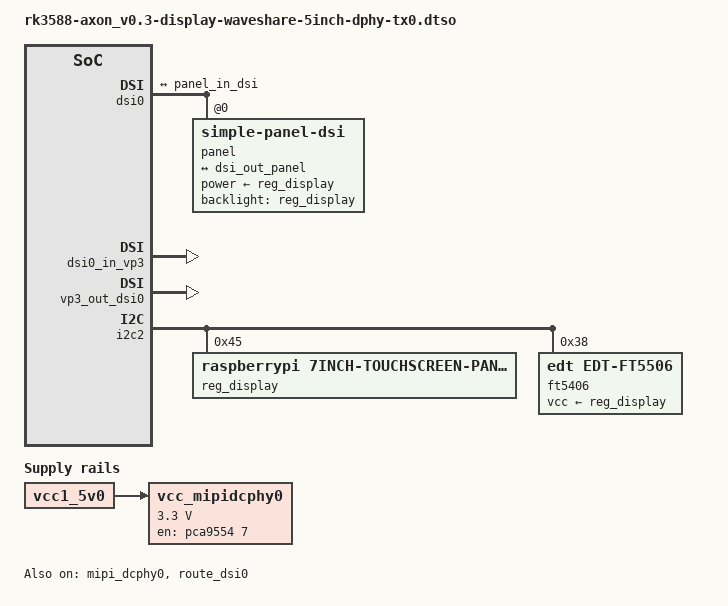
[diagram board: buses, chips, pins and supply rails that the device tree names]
//SPDX-License-Identifier: GPL-2..0+
// Copyright (C) 2024 Vicharak Computers PVT LTD

/dts-v1/;
/plugin/;

#include <dt-bindings/gpio/gpio.h>
#include <dt-bindings/pinctrl/rockchip.h>
#include <dt-bindings/display/drm_mipi_dsi.h>

&{/} {
	metadata {
		title = "Enable Waveshare 5inch DSI LCD DPHY TX0 Axon V0.3";
		compatible = "vicharak,rk3588-axon", "rockchip,rk3588";
		category = "display";
		exclusive = "dsi0", "vp3", "dsi0_in_vp3", "vp3_out_dsi0";
		description = "Enables support for the Waveshare 5-inch LCD screen for DSI0 on\n Vicharak Axon at I2C 2 bus address 45 for regulator and 38 for touchscreen.\n";
	};

	vcc_mipidcphy0: vcc-mipi-dcphy0 {
		compatible = "regulator-fixed";
		regulator-name = "vcc_mipidcphy0";
		regulator-min-microvolt = <3300000>;
		regulator-max-microvolt = <3300000>;
		gpio = <&pca9554 7 GPIO_ACTIVE_HIGH>;
		regulator-always-on;
		regulator-boot-on;
		enable-active-high;
		vin-supply = <&vcc1_5v0>;
		status = "okay";
	};
};

&mipi_dcphy0 {
	status = "okay";
};

&dsi0 {
	status = "okay";
	#address-cells = <1>;
	#size-cells = <0>;

	panel: panel-dsi-generic@0 {
		compatible = "simple-panel-dsi";
		reg = <0>;
		power-supply = <&reg_display>;
		backlight = <&reg_display>;
		status = "okay";

		width-mm = <0>;
		height-mm = <0>;

		dsi,format = <MIPI_DSI_FMT_RGB888>;
		dsi,lanes = <1>;
		dsi,flags = <(MIPI_DSI_MODE_VIDEO | MIPI_DSI_MODE_VIDEO_SYNC_PULSE |
			  MIPI_DSI_MODE_LPM | MIPI_DSI_MODE_VIDEO_HSE)>;

		display-timings {
			native-mode = <&timing0>;
			timing0: timing0 {
				clock-frequency = <27777000>;
				hactive = <800>;
				vactive = <480>;

				hback-porch = <45>;
				hfront-porch = <59>;

				vback-porch = <22>;
				vfront-porch = <7>;

				hsync-len = <2>;
				vsync-len = <2>;
			};
		};

		ports {
            #address-cells = <1>;
            #size-cells = <0>;

            port@0 {
                reg = <0>;
                panel_in_dsi: endpoint {
                    remote-endpoint = <&dsi_out_panel>;
                };
            };
        };
	};

	ports {
		#address-cells = <1>;
		#size-cells = <0>;

		port@1 {
			reg = <1>;

			dsi_out_panel: endpoint {
				remote-endpoint = <&panel_in_dsi>;
			};
		};
	};
};

&dsi0_in_vp2 {
	status = "disabled";
};

&dsi0_in_vp3 {
	status = "okay";
};

&vp3_out_dsi0 {
	status = "okay";
};

&route_dsi0 {
	status = "okay";
	connect = <&vp3_out_dsi0>;
};

&i2c2 {
	status = "okay";
	#address-cells = <1>;
	#size-cells = <0>;
	pinctrl-0 = <&i2c2m4_xfer>;

	reg_display: reg_display@45 {
		compatible = "raspberrypi,7inch-touchscreen-panel-regulator";
		reg = <0x45>;
		status = "okay";
	};

	ft5406: ts@38 {
		compatible = "edt,edt-ft5506";
		reg = <0x38>;
		vcc-supply = <&reg_display>;
		touchscreen-size-x = <800>;
		touchscreen-size-y = <480>;
		touchscreen-inverted-x;
		touchscreen-inverted-y;
		status = "okay";
	};
};
